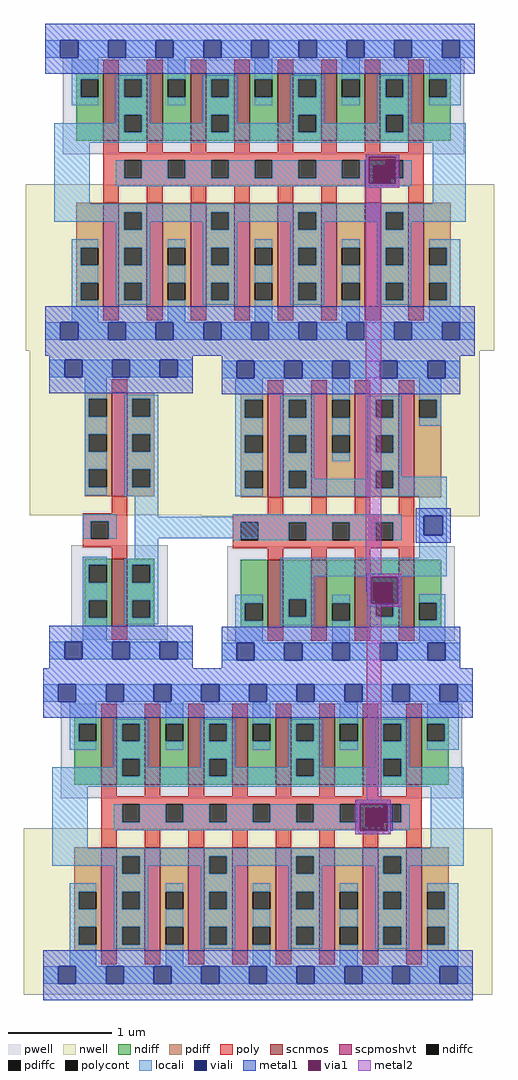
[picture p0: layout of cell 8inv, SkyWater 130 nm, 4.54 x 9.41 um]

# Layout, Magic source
magic
tech sky130A
<< locali >>
rect 1258 2746 1380 2767
<< viali >>
rect 1488 3089 1505 3106
rect 1537 2749 1555 2768
rect 1488 2686 1507 2704
rect 1481 2468 1498 2486
<< metal1 >>
rect 1481 3114 1513 3116
rect 1481 3111 1484 3114
rect 1480 3088 1484 3111
rect 1510 3088 1513 3114
rect 1480 3085 1513 3088
rect 1481 3084 1513 3085
rect 1529 2768 1563 2775
rect 1529 2749 1537 2768
rect 1555 2749 1563 2768
rect 1529 2742 1563 2749
rect 1482 2709 1515 2712
rect 1482 2683 1486 2709
rect 1512 2683 1515 2709
rect 1482 2680 1515 2683
rect 1471 2490 1505 2494
rect 1471 2464 1475 2490
rect 1502 2464 1507 2490
rect 1471 2461 1505 2464
<< via1 >>
rect 1484 3106 1510 3114
rect 1484 3089 1488 3106
rect 1488 3089 1505 3106
rect 1505 3089 1510 3106
rect 1484 3088 1510 3089
rect 1486 2704 1512 2709
rect 1486 2686 1488 2704
rect 1488 2686 1507 2704
rect 1507 2686 1512 2704
rect 1486 2683 1512 2686
rect 1475 2486 1502 2490
rect 1475 2468 1481 2486
rect 1481 2468 1498 2486
rect 1498 2468 1502 2486
rect 1475 2464 1502 2468
<< metal2 >>
rect 1481 3114 1513 3116
rect 1481 3088 1484 3114
rect 1510 3088 1513 3114
rect 1481 3084 1513 3088
rect 1481 2712 1496 3084
rect 1481 2709 1515 2712
rect 1481 2694 1486 2709
rect 1482 2683 1486 2694
rect 1512 2683 1515 2709
rect 1482 2680 1515 2683
rect 1482 2494 1496 2680
rect 1471 2490 1505 2494
rect 1471 2464 1475 2490
rect 1502 2464 1505 2490
rect 1471 2461 1505 2464
use sky130_fd_sc_hd__inv_1  sky130_fd_sc_hd__inv_1_0 $PDKPATH/libs.ref/sky130_fd_sc_hd/mag
transform 1 0 1176 0 1 2638
box -19 -24 157 296
use sky130_fd_sc_hd__inv_4  sky130_fd_sc_hd__inv_4_0 $PDKPATH/libs.ref/sky130_fd_sc_hd/mag
transform 1 0 1342 0 1 2637
box -19 -24 249 296
use sky130_fd_sc_hd__inv_8  sky130_fd_sc_hd__inv_8_0 $PDKPATH/libs.ref/sky130_fd_sc_hd/mag
transform 1 0 1172 0 -1 3218
box -19 -24 433 296
use sky130_fd_sc_hd__inv_8  sky130_fd_sc_hd__inv_8_1
transform 1 0 1170 0 -1 2597
box -19 -24 433 296
<< end >>

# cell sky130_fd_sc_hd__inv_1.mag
magic
tech sky130A
magscale 1 2
<< nwell >>
rect -38 261 314 582
<< pwell >>
rect 42 21 228 203
rect 42 17 63 21
rect 29 -17 63 17
<< scnmos >>
rect 120 47 150 177
<< scpmoshvt >>
rect 120 297 150 497
<< ndiff >>
rect 68 165 120 177
rect 68 131 76 165
rect 110 131 120 165
rect 68 97 120 131
rect 68 63 76 97
rect 110 63 120 97
rect 68 47 120 63
rect 150 165 202 177
rect 150 131 160 165
rect 194 131 202 165
rect 150 97 202 131
rect 150 63 160 97
rect 194 63 202 97
rect 150 47 202 63
<< pdiff >>
rect 68 485 120 497
rect 68 451 76 485
rect 110 451 120 485
rect 68 417 120 451
rect 68 383 76 417
rect 110 383 120 417
rect 68 349 120 383
rect 68 315 76 349
rect 110 315 120 349
rect 68 297 120 315
rect 150 485 202 497
rect 150 451 160 485
rect 194 451 202 485
rect 150 417 202 451
rect 150 383 160 417
rect 194 383 202 417
rect 150 349 202 383
rect 150 315 160 349
rect 194 315 202 349
rect 150 297 202 315
<< ndiffc >>
rect 76 131 110 165
rect 76 63 110 97
rect 160 131 194 165
rect 160 63 194 97
<< pdiffc >>
rect 76 451 110 485
rect 76 383 110 417
rect 76 315 110 349
rect 160 451 194 485
rect 160 383 194 417
rect 160 315 194 349
<< poly >>
rect 120 497 150 523
rect 120 265 150 297
rect 64 249 150 265
rect 64 215 80 249
rect 114 215 150 249
rect 64 199 150 215
rect 120 177 150 199
rect 120 21 150 47
<< polycont >>
rect 80 215 114 249
<< locali >>
rect 0 527 29 561
rect 63 527 121 561
rect 155 527 213 561
rect 247 527 276 561
rect 68 485 110 527
rect 68 451 76 485
rect 68 417 110 451
rect 68 383 76 417
rect 68 349 110 383
rect 68 315 76 349
rect 68 299 110 315
rect 144 485 210 493
rect 144 451 160 485
rect 194 451 210 485
rect 144 417 210 451
rect 144 383 160 417
rect 194 383 210 417
rect 144 349 210 383
rect 144 315 160 349
rect 194 315 210 349
rect 144 297 210 315
rect 64 249 130 263
rect 64 215 80 249
rect 114 215 130 249
rect 64 165 110 181
rect 164 177 210 297
rect 64 131 76 165
rect 64 97 110 131
rect 64 63 76 97
rect 64 17 110 63
rect 144 165 210 177
rect 144 131 160 165
rect 194 131 210 165
rect 144 97 210 131
rect 144 63 160 97
rect 194 63 210 97
rect 144 51 210 63
rect 0 -17 29 17
rect 63 -17 121 17
rect 155 -17 213 17
rect 247 -17 276 17
<< viali >>
rect 29 527 63 561
rect 121 527 155 561
rect 213 527 247 561
rect 29 -17 63 17
rect 121 -17 155 17
rect 213 -17 247 17
<< metal1 >>
rect 0 561 276 592
rect 0 527 29 561
rect 63 527 121 561
rect 155 527 213 561
rect 247 527 276 561
rect 0 496 276 527
rect 0 17 276 48
rect 0 -17 29 17
rect 63 -17 121 17
rect 155 -17 213 17
rect 247 -17 276 17
rect 0 -48 276 -17
<< labels >>
flabel locali s 164 289 198 323 0 FreeSans 340 0 0 0 Y
port 1 nsew
flabel locali s 164 221 198 255 0 FreeSans 340 0 0 0 Y
port 1 nsew
flabel locali s 72 221 106 255 0 FreeSans 340 0 0 0 A
port 2 nsew
flabel nwell s 29 527 63 561 0 FreeSans 200 0 0 0 VPB
port 3 nsew
flabel pwell s 29 -17 63 17 0 FreeSans 200 0 0 0 VNB
port 4 nsew
flabel metal1 s 29 -17 63 17 0 FreeSans 200 0 0 0 VGND
port 5 nsew
flabel metal1 s 29 527 63 561 0 FreeSans 200 0 0 0 VPWR
port 6 nsew
rlabel comment s 0 0 0 0 4 inv_1
<< properties >>
string FIXED_BBOX 0 0 276 544
string path 0.000 0.000 1.380 0.000 
<< end >>

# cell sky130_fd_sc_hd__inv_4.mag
magic
tech sky130A
magscale 1 2
<< nwell >>
rect -38 261 498 582
<< pwell >>
rect 11 21 449 203
rect 29 -17 63 21
<< scnmos >>
rect 89 47 119 177
rect 173 47 203 177
rect 257 47 287 177
rect 341 47 371 177
<< scpmoshvt >>
rect 89 297 119 497
rect 173 297 203 497
rect 257 297 287 497
rect 341 297 371 497
<< ndiff >>
rect 37 93 89 177
rect 37 59 45 93
rect 79 59 89 93
rect 37 47 89 59
rect 119 101 173 177
rect 119 67 129 101
rect 163 67 173 101
rect 119 47 173 67
rect 203 93 257 177
rect 203 59 213 93
rect 247 59 257 93
rect 203 47 257 59
rect 287 101 341 177
rect 287 67 297 101
rect 331 67 341 101
rect 287 47 341 67
rect 371 94 423 177
rect 371 60 381 94
rect 415 60 423 94
rect 371 47 423 60
<< pdiff >>
rect 37 485 89 497
rect 37 451 45 485
rect 79 451 89 485
rect 37 417 89 451
rect 37 383 45 417
rect 79 383 89 417
rect 37 349 89 383
rect 37 315 45 349
rect 79 315 89 349
rect 37 297 89 315
rect 119 485 173 497
rect 119 451 129 485
rect 163 451 173 485
rect 119 417 173 451
rect 119 383 129 417
rect 163 383 173 417
rect 119 349 173 383
rect 119 315 129 349
rect 163 315 173 349
rect 119 297 173 315
rect 203 485 257 497
rect 203 451 213 485
rect 247 451 257 485
rect 203 417 257 451
rect 203 383 213 417
rect 247 383 257 417
rect 203 297 257 383
rect 287 485 341 497
rect 287 451 297 485
rect 331 451 341 485
rect 287 417 341 451
rect 287 383 297 417
rect 331 383 341 417
rect 287 349 341 383
rect 287 315 297 349
rect 331 315 341 349
rect 287 297 341 315
rect 371 485 423 497
rect 371 451 381 485
rect 415 451 423 485
rect 371 297 423 451
<< ndiffc >>
rect 45 59 79 93
rect 129 67 163 101
rect 213 59 247 93
rect 297 67 331 101
rect 381 60 415 94
<< pdiffc >>
rect 45 451 79 485
rect 45 383 79 417
rect 45 315 79 349
rect 129 451 163 485
rect 129 383 163 417
rect 129 315 163 349
rect 213 451 247 485
rect 213 383 247 417
rect 297 451 331 485
rect 297 383 331 417
rect 297 315 331 349
rect 381 451 415 485
<< poly >>
rect 89 497 119 523
rect 173 497 203 523
rect 257 497 287 523
rect 341 497 371 523
rect 89 265 119 297
rect 173 265 203 297
rect 257 265 287 297
rect 341 265 371 297
rect 21 249 371 265
rect 21 215 37 249
rect 71 215 129 249
rect 163 215 213 249
rect 247 215 297 249
rect 331 215 371 249
rect 21 199 371 215
rect 89 177 119 199
rect 173 177 203 199
rect 257 177 287 199
rect 341 177 371 199
rect 89 21 119 47
rect 173 21 203 47
rect 257 21 287 47
rect 341 21 371 47
<< polycont >>
rect 37 215 71 249
rect 129 215 163 249
rect 213 215 247 249
rect 297 215 331 249
<< locali >>
rect 0 527 29 561
rect 63 527 121 561
rect 155 527 213 561
rect 247 527 305 561
rect 339 527 397 561
rect 431 527 460 561
rect 26 485 79 527
rect 26 451 45 485
rect 26 417 79 451
rect 26 383 45 417
rect 26 349 79 383
rect 26 315 45 349
rect 26 299 79 315
rect 113 485 179 493
rect 113 451 129 485
rect 163 451 179 485
rect 113 417 179 451
rect 113 383 129 417
rect 163 383 179 417
rect 113 349 179 383
rect 213 485 247 527
rect 213 417 247 451
rect 213 367 247 383
rect 281 485 347 493
rect 281 451 297 485
rect 331 451 347 485
rect 281 417 347 451
rect 381 485 423 527
rect 415 451 423 485
rect 381 435 423 451
rect 281 383 297 417
rect 331 383 347 417
rect 113 315 129 349
rect 163 333 179 349
rect 281 349 347 383
rect 281 333 297 349
rect 163 315 297 333
rect 331 337 347 349
rect 331 315 434 337
rect 113 299 434 315
rect 21 249 347 265
rect 21 215 37 249
rect 71 215 129 249
rect 163 215 213 249
rect 247 215 297 249
rect 331 215 347 249
rect 381 181 434 299
rect 113 145 434 181
rect 26 93 79 109
rect 26 59 45 93
rect 26 17 79 59
rect 113 101 179 145
rect 113 67 129 101
rect 163 67 179 101
rect 113 51 179 67
rect 213 93 247 109
rect 213 17 247 59
rect 281 101 347 145
rect 281 67 297 101
rect 331 67 347 101
rect 281 51 347 67
rect 381 94 431 110
rect 415 60 431 94
rect 381 17 431 60
rect 0 -17 29 17
rect 63 -17 121 17
rect 155 -17 213 17
rect 247 -17 305 17
rect 339 -17 397 17
rect 431 -17 460 17
<< viali >>
rect 29 527 63 561
rect 121 527 155 561
rect 213 527 247 561
rect 305 527 339 561
rect 397 527 431 561
rect 29 -17 63 17
rect 121 -17 155 17
rect 213 -17 247 17
rect 305 -17 339 17
rect 397 -17 431 17
<< metal1 >>
rect 0 561 460 592
rect 0 527 29 561
rect 63 527 121 561
rect 155 527 213 561
rect 247 527 305 561
rect 339 527 397 561
rect 431 527 460 561
rect 0 496 460 527
rect 0 17 460 48
rect 0 -17 29 17
rect 63 -17 121 17
rect 155 -17 213 17
rect 247 -17 305 17
rect 339 -17 397 17
rect 431 -17 460 17
rect 0 -48 460 -17
<< labels >>
flabel locali s 397 153 431 187 0 FreeSans 340 0 0 0 Y
port 1 nsew
flabel locali s 397 221 431 255 0 FreeSans 340 0 0 0 Y
port 1 nsew
flabel locali s 397 289 431 323 0 FreeSans 340 0 0 0 Y
port 1 nsew
flabel locali s 29 221 63 255 0 FreeSans 340 0 0 0 A
port 2 nsew
flabel locali s 121 221 155 255 0 FreeSans 340 0 0 0 A
port 2 nsew
flabel locali s 213 221 247 255 0 FreeSans 340 0 0 0 A
port 2 nsew
flabel locali s 305 221 339 255 0 FreeSans 340 0 0 0 A
port 2 nsew
flabel nwell s 29 527 63 561 0 FreeSans 200 0 0 0 VPB
port 3 nsew
flabel pwell s 29 -17 63 17 0 FreeSans 200 0 0 0 VNB
port 4 nsew
flabel metal1 s 29 527 63 561 0 FreeSans 200 0 0 0 VPWR
port 5 nsew
flabel metal1 s 29 -17 63 17 0 FreeSans 200 0 0 0 VGND
port 6 nsew
rlabel comment s 0 0 0 0 4 inv_4
<< properties >>
string FIXED_BBOX 0 0 460 544
string path 0.000 0.000 2.300 0.000 
<< end >>

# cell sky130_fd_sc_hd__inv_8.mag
magic
tech sky130A
magscale 1 2
<< nwell >>
rect -38 261 866 582
<< pwell >>
rect 34 21 808 203
rect 34 17 63 21
rect 29 -17 63 17
<< scnmos >>
rect 112 47 142 177
rect 196 47 226 177
rect 280 47 310 177
rect 364 47 394 177
rect 448 47 478 177
rect 532 47 562 177
rect 616 47 646 177
rect 700 47 730 177
<< scpmoshvt >>
rect 112 297 142 497
rect 196 297 226 497
rect 280 297 310 497
rect 364 297 394 497
rect 448 297 478 497
rect 532 297 562 497
rect 616 297 646 497
rect 700 297 730 497
<< ndiff >>
rect 60 93 112 177
rect 60 59 68 93
rect 102 59 112 93
rect 60 47 112 59
rect 142 161 196 177
rect 142 127 152 161
rect 186 127 196 161
rect 142 93 196 127
rect 142 59 152 93
rect 186 59 196 93
rect 142 47 196 59
rect 226 93 280 177
rect 226 59 236 93
rect 270 59 280 93
rect 226 47 280 59
rect 310 161 364 177
rect 310 127 320 161
rect 354 127 364 161
rect 310 93 364 127
rect 310 59 320 93
rect 354 59 364 93
rect 310 47 364 59
rect 394 93 448 177
rect 394 59 404 93
rect 438 59 448 93
rect 394 47 448 59
rect 478 161 532 177
rect 478 127 488 161
rect 522 127 532 161
rect 478 93 532 127
rect 478 59 488 93
rect 522 59 532 93
rect 478 47 532 59
rect 562 93 616 177
rect 562 59 572 93
rect 606 59 616 93
rect 562 47 616 59
rect 646 161 700 177
rect 646 127 656 161
rect 690 127 700 161
rect 646 93 700 127
rect 646 59 656 93
rect 690 59 700 93
rect 646 47 700 59
rect 730 93 782 177
rect 730 59 740 93
rect 774 59 782 93
rect 730 47 782 59
<< pdiff >>
rect 60 485 112 497
rect 60 451 68 485
rect 102 451 112 485
rect 60 417 112 451
rect 60 383 68 417
rect 102 383 112 417
rect 60 297 112 383
rect 142 485 196 497
rect 142 451 152 485
rect 186 451 196 485
rect 142 417 196 451
rect 142 383 152 417
rect 186 383 196 417
rect 142 349 196 383
rect 142 315 152 349
rect 186 315 196 349
rect 142 297 196 315
rect 226 485 280 497
rect 226 451 236 485
rect 270 451 280 485
rect 226 417 280 451
rect 226 383 236 417
rect 270 383 280 417
rect 226 297 280 383
rect 310 485 364 497
rect 310 451 320 485
rect 354 451 364 485
rect 310 417 364 451
rect 310 383 320 417
rect 354 383 364 417
rect 310 349 364 383
rect 310 315 320 349
rect 354 315 364 349
rect 310 297 364 315
rect 394 485 448 497
rect 394 451 404 485
rect 438 451 448 485
rect 394 417 448 451
rect 394 383 404 417
rect 438 383 448 417
rect 394 297 448 383
rect 478 485 532 497
rect 478 451 488 485
rect 522 451 532 485
rect 478 417 532 451
rect 478 383 488 417
rect 522 383 532 417
rect 478 349 532 383
rect 478 315 488 349
rect 522 315 532 349
rect 478 297 532 315
rect 562 485 616 497
rect 562 451 572 485
rect 606 451 616 485
rect 562 417 616 451
rect 562 383 572 417
rect 606 383 616 417
rect 562 297 616 383
rect 646 485 700 497
rect 646 451 656 485
rect 690 451 700 485
rect 646 417 700 451
rect 646 383 656 417
rect 690 383 700 417
rect 646 349 700 383
rect 646 315 656 349
rect 690 315 700 349
rect 646 297 700 315
rect 730 485 782 497
rect 730 451 740 485
rect 774 451 782 485
rect 730 417 782 451
rect 730 383 740 417
rect 774 383 782 417
rect 730 297 782 383
<< ndiffc >>
rect 68 59 102 93
rect 152 127 186 161
rect 152 59 186 93
rect 236 59 270 93
rect 320 127 354 161
rect 320 59 354 93
rect 404 59 438 93
rect 488 127 522 161
rect 488 59 522 93
rect 572 59 606 93
rect 656 127 690 161
rect 656 59 690 93
rect 740 59 774 93
<< pdiffc >>
rect 68 451 102 485
rect 68 383 102 417
rect 152 451 186 485
rect 152 383 186 417
rect 152 315 186 349
rect 236 451 270 485
rect 236 383 270 417
rect 320 451 354 485
rect 320 383 354 417
rect 320 315 354 349
rect 404 451 438 485
rect 404 383 438 417
rect 488 451 522 485
rect 488 383 522 417
rect 488 315 522 349
rect 572 451 606 485
rect 572 383 606 417
rect 656 451 690 485
rect 656 383 690 417
rect 656 315 690 349
rect 740 451 774 485
rect 740 383 774 417
<< poly >>
rect 112 497 142 523
rect 196 497 226 523
rect 280 497 310 523
rect 364 497 394 523
rect 448 497 478 523
rect 532 497 562 523
rect 616 497 646 523
rect 700 497 730 523
rect 112 265 142 297
rect 196 265 226 297
rect 280 265 310 297
rect 364 265 394 297
rect 448 265 478 297
rect 532 265 562 297
rect 616 265 646 297
rect 700 265 730 297
rect 112 249 730 265
rect 112 215 152 249
rect 186 215 236 249
rect 270 215 320 249
rect 354 215 404 249
rect 438 215 488 249
rect 522 215 572 249
rect 606 215 656 249
rect 690 215 730 249
rect 112 199 730 215
rect 112 177 142 199
rect 196 177 226 199
rect 280 177 310 199
rect 364 177 394 199
rect 448 177 478 199
rect 532 177 562 199
rect 616 177 646 199
rect 700 177 730 199
rect 112 21 142 47
rect 196 21 226 47
rect 280 21 310 47
rect 364 21 394 47
rect 448 21 478 47
rect 532 21 562 47
rect 616 21 646 47
rect 700 21 730 47
<< polycont >>
rect 152 215 186 249
rect 236 215 270 249
rect 320 215 354 249
rect 404 215 438 249
rect 488 215 522 249
rect 572 215 606 249
rect 656 215 690 249
<< locali >>
rect 0 527 29 561
rect 63 527 121 561
rect 155 527 213 561
rect 247 527 305 561
rect 339 527 397 561
rect 431 527 489 561
rect 523 527 581 561
rect 615 527 673 561
rect 707 527 765 561
rect 799 527 828 561
rect 51 485 102 527
rect 51 451 68 485
rect 51 417 102 451
rect 51 383 68 417
rect 51 367 102 383
rect 136 485 202 493
rect 136 451 152 485
rect 186 451 202 485
rect 136 417 202 451
rect 136 383 152 417
rect 186 383 202 417
rect 136 349 202 383
rect 236 485 270 527
rect 236 417 270 451
rect 236 367 270 383
rect 304 485 370 493
rect 304 451 320 485
rect 354 451 370 485
rect 304 417 370 451
rect 304 383 320 417
rect 354 383 370 417
rect 136 333 152 349
rect 17 315 152 333
rect 186 333 202 349
rect 304 349 370 383
rect 404 485 438 527
rect 404 417 438 451
rect 404 367 438 383
rect 472 485 538 493
rect 472 451 488 485
rect 522 451 538 485
rect 472 417 538 451
rect 472 383 488 417
rect 522 383 538 417
rect 304 333 320 349
rect 186 315 320 333
rect 354 333 370 349
rect 472 349 538 383
rect 572 485 606 527
rect 572 417 606 451
rect 572 367 606 383
rect 640 485 706 493
rect 640 451 656 485
rect 690 451 706 485
rect 640 417 706 451
rect 640 383 656 417
rect 690 383 706 417
rect 472 333 488 349
rect 354 315 488 333
rect 522 333 538 349
rect 640 349 706 383
rect 740 485 800 527
rect 774 451 800 485
rect 740 417 800 451
rect 774 383 800 417
rect 740 367 800 383
rect 640 333 656 349
rect 522 315 656 333
rect 690 333 706 349
rect 690 315 811 333
rect 17 299 811 315
rect 17 181 86 299
rect 136 249 707 265
rect 136 215 152 249
rect 186 215 236 249
rect 270 215 320 249
rect 354 215 404 249
rect 438 215 488 249
rect 522 215 572 249
rect 606 215 656 249
rect 690 215 707 249
rect 747 181 811 299
rect 17 161 811 181
rect 17 143 152 161
rect 136 127 152 143
rect 186 143 320 161
rect 186 127 202 143
rect 51 93 102 109
rect 51 59 68 93
rect 51 17 102 59
rect 136 93 202 127
rect 304 127 320 143
rect 354 143 488 161
rect 354 127 370 143
rect 136 59 152 93
rect 186 59 202 93
rect 136 51 202 59
rect 236 93 270 109
rect 236 17 270 59
rect 304 93 370 127
rect 472 127 488 143
rect 522 143 656 161
rect 522 127 538 143
rect 304 59 320 93
rect 354 59 370 93
rect 304 51 370 59
rect 404 93 438 109
rect 404 17 438 59
rect 472 93 538 127
rect 640 127 656 143
rect 690 143 811 161
rect 690 127 706 143
rect 472 59 488 93
rect 522 59 538 93
rect 472 51 538 59
rect 572 93 606 109
rect 572 17 606 59
rect 640 93 706 127
rect 640 59 656 93
rect 690 59 706 93
rect 640 51 706 59
rect 740 93 801 109
rect 774 59 801 93
rect 740 17 801 59
rect 0 -17 29 17
rect 63 -17 121 17
rect 155 -17 213 17
rect 247 -17 305 17
rect 339 -17 397 17
rect 431 -17 489 17
rect 523 -17 581 17
rect 615 -17 673 17
rect 707 -17 765 17
rect 799 -17 828 17
<< viali >>
rect 29 527 63 561
rect 121 527 155 561
rect 213 527 247 561
rect 305 527 339 561
rect 397 527 431 561
rect 489 527 523 561
rect 581 527 615 561
rect 673 527 707 561
rect 765 527 799 561
rect 29 -17 63 17
rect 121 -17 155 17
rect 213 -17 247 17
rect 305 -17 339 17
rect 397 -17 431 17
rect 489 -17 523 17
rect 581 -17 615 17
rect 673 -17 707 17
rect 765 -17 799 17
<< metal1 >>
rect 0 561 828 592
rect 0 527 29 561
rect 63 527 121 561
rect 155 527 213 561
rect 247 527 305 561
rect 339 527 397 561
rect 431 527 489 561
rect 523 527 581 561
rect 615 527 673 561
rect 707 527 765 561
rect 799 527 828 561
rect 0 496 828 527
rect 0 17 828 48
rect 0 -17 29 17
rect 63 -17 121 17
rect 155 -17 213 17
rect 247 -17 305 17
rect 339 -17 397 17
rect 431 -17 489 17
rect 523 -17 581 17
rect 615 -17 673 17
rect 707 -17 765 17
rect 799 -17 828 17
rect 0 -48 828 -17
<< labels >>
flabel locali s 213 221 247 255 0 FreeSans 390 0 0 0 A
port 1 nsew
flabel locali s 305 221 339 255 0 FreeSans 390 0 0 0 A
port 1 nsew
flabel locali s 397 221 431 255 0 FreeSans 390 0 0 0 A
port 1 nsew
flabel locali s 489 221 523 255 0 FreeSans 390 0 0 0 A
port 1 nsew
flabel locali s 581 221 615 255 0 FreeSans 390 0 0 0 A
port 1 nsew
flabel locali s 673 221 707 255 0 FreeSans 390 0 0 0 A
port 1 nsew
flabel locali s 765 221 799 255 0 FreeSans 390 0 0 0 Y
port 2 nsew
flabel locali s 29 221 63 255 0 FreeSans 390 0 0 0 Y
port 2 nsew
flabel pwell s 29 -17 63 17 0 FreeSans 312 0 0 0 VNB
port 3 nsew
flabel nwell s 29 527 63 561 0 FreeSans 312 0 0 0 VPB
port 4 nsew
flabel metal1 s 29 -17 63 17 0 FreeSans 312 0 0 0 VGND
port 5 nsew
flabel metal1 s 29 527 63 561 0 FreeSans 312 0 0 0 VPWR
port 6 nsew
<< properties >>
string FIXED_BBOX 0 0 828 544
<< end >>
